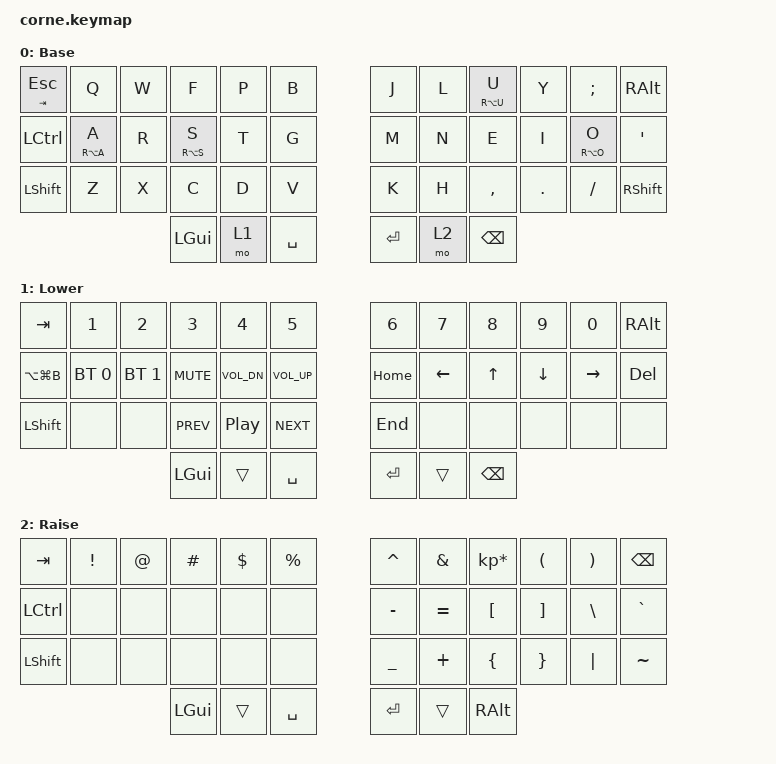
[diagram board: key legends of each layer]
/*
 * Copyright (c) 2020 The ZMK Contributors
 *
 * SPDX-License-Identifier: MIT
 */

#include <behaviors.dtsi>
#include <dt-bindings/zmk/bt.h>
#include <dt-bindings/zmk/keys.h>

&mt { flavor = "tap-preferred"; };

/ {
    keymap {
        compatible = "zmk,keymap";

        default_layer {
            // -----------------------------------------------------------------------------------------
            // |  TAB |  Q  |  W  |  E  |  R  |  T  |   |  Y  |  U   |  I  |  O  |  P  | BKSP |
            // | CTRL |  A  |  S  |  D  |  F  |  G  |   |  H  |  J   |  K  |  L  |  ;  |  '   |
            // | SHFT |  Z  |  X  |  C  |  V  |  B  |   |  N  |  M   |  ,  |  .  |  /  | ESC  |
            //                    | GUI | LWR | SPC |   | ENT | RSE  | ALT |

            display-name = "Base";
            bindings = <
&mt TAB ESC  &kp Q        &kp W  &kp F        &kp P  &kp B        &kp J    &kp L  &mt RA(U) U    &kp Y    &kp SEMICOLON  &kp RIGHT_ALT
&kp LCTRL    &mt RA(A) A  &kp R  &mt RA(S) S  &kp T  &kp G        &kp M    &kp N  &kp E          &kp I    &mt RA(O) O    &kp SQT
&kp LSHFT    &kp Z        &kp X  &kp C        &kp D  &kp V        &kp K    &kp H  &kp COMMA      &kp DOT  &kp FSLH       &kp RSHIFT
                                 &kp LGUI     &mo 1  &kp SPACE    &kp RET  &mo 2  &kp BACKSPACE
            >;
        };

        lower_layer {
            // -----------------------------------------------------------------------------------------
            // |  TAB |  1  |  2  |  3  |  4  |  5  |   |  6  |  7  |  8  |  9  |  0  | BKSP |
            // | BTCLR| BT1 | BT2 | BT3 | BT4 | BT5 |   | LFT | DWN |  UP | RGT |     |      |
            // | SHFT |     |     |     |     |     |   |     |     |     |     |     |      |
            //                    | GUI |     | SPC |   | ENT |     | ALT |

            display-name = "Lower";
            bindings = <
&kp TAB        &kp N1        &kp N2        &kp N3      &kp N4        &kp N5          &kp N6    &kp N7    &kp N8         &kp N9    &kp N0     &kp RALT
&kp LA(LG(B))  &bt BT_SEL 0  &bt BT_SEL 1  &kp C_MUTE  &kp C_VOL_DN  &kp C_VOL_UP    &kp HOME  &kp LEFT  &kp UP         &kp DOWN  &kp RIGHT  &kp DELETE
&kp LSHFT      &none         &none         &kp C_PREV  &kp C_PP      &kp C_NEXT      &kp END   &none     &none          &none     &none      &none
                                           &kp LGUI    &trans        &kp SPACE       &kp RET   &trans    &kp BACKSPACE
            >;
        };

        raise_layer {
            // -----------------------------------------------------------------------------------------
            // |  TAB |  !  |  @  |  #  |  $  |  %  |   |  ^  |  &  |  *  |  (  |  )  | BKSP |
            // | CTRL |     |     |     |     |     |   |  -  |  =  |  [  |  ]  |  \  |  `   |
            // | SHFT |     |     |     |     |     |   |  _  |  +  |  {  |  }  | "|" |  ~   |
            //                    | GUI |     | SPC |   | ENT |     | ALT |

            display-name = "Raise";
            bindings = <
&kp TAB    &kp EXCL  &kp AT  &kp HASH  &kp DLLR  &kp PRCNT    &kp CARET  &kp AMPS   &kp KP_MULTIPLY  &kp LPAR  &kp RPAR  &kp BSPC
&kp LCTRL  &none     &none   &none     &none     &none        &kp MINUS  &kp EQUAL  &kp LBKT         &kp RBKT  &kp BSLH  &kp GRAVE
&kp LSHFT  &none     &none   &none     &none     &none        &kp UNDER  &kp PLUS   &kp LBRC         &kp RBRC  &kp PIPE  &kp TILDE
                             &kp LGUI  &trans    &kp SPACE    &kp RET    &trans     &kp RALT
            >;
        };
    };
};
